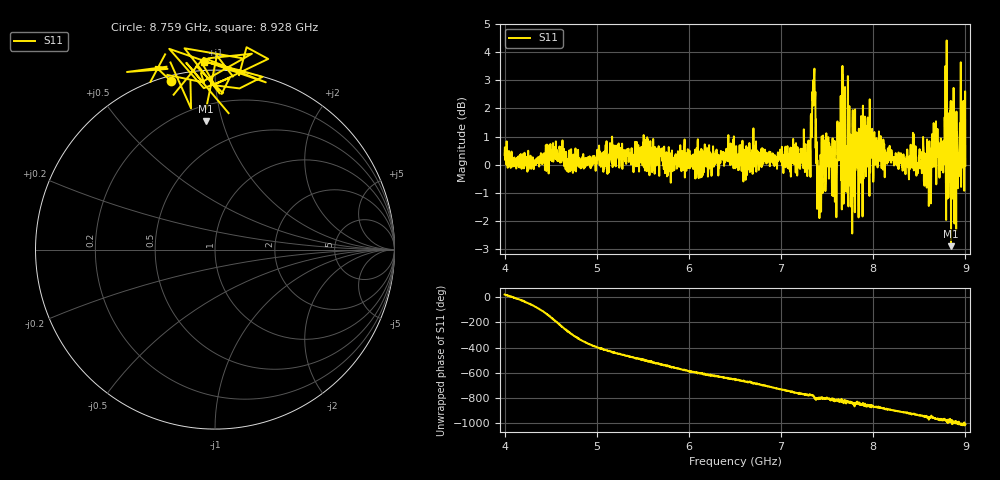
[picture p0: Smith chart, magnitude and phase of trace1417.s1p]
! Created with skrf 1.8.0 (http://scikit-rf.org).
# Hz S RI R 50.0
!freq ReS11 ImS11
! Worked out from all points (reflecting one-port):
!   1601 points, 4 GHz to 9 GHz, reference 50 ohm
!   lowest |S11| = -2.9 dB at 8.844 GHz (marker M1), VSWR 6.05, Z = 15.1 + j44.4 ohm
!   phase of S11 starts at 21 deg and turns -1029 deg over the sweep
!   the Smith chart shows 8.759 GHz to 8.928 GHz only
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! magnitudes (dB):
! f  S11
! 4 GHz  0.3
! 4.247 GHz  -0.2
! 4.625 GHz  0.3
! 5.25 GHz  0.2
! 5.875 GHz  0.0
! 6.5 GHz  0.1
! 7.125 GHz  0.2
! 7.294 GHz  0.2
! 7.347 GHz  3.0
! 7.362 GHz  3.4
! 7.409 GHz  -1.0
! 7.512 GHz  1.0
! 7.578 GHz  0.3
! 7.65 GHz  0.7
! 7.703 GHz  -0.3
! 7.75 GHz  0.4
! 7.928 GHz  1.2
! 7.981 GHz  0.2
! 8.375 GHz  0.1
! 8.441 GHz  -0.2
! 8.603 GHz  -1.5
! 8.656 GHz  1.5
! 8.741 GHz  0.0
! 8.788 GHz  -0.5
! 8.844 GHz  -2.9
! 8.906 GHz  -0.2
! 8.956 GHz  0.2
! 9 GHz  0.0
